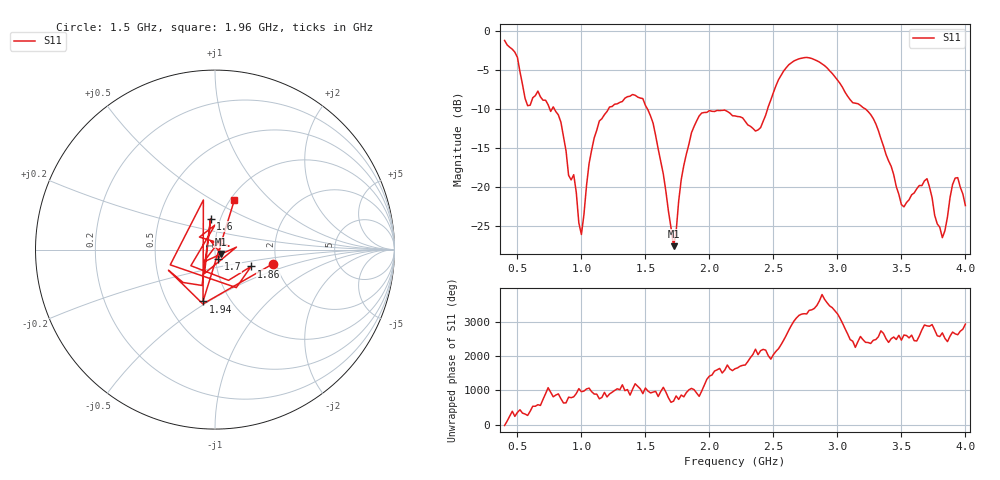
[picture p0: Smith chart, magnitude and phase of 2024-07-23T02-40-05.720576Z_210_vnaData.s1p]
!Created with skrf (http://scikit-rf.org).
# Hz S RI R 50.0
!freq ReS11 ImS11
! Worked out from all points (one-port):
!   181 points, 400 MHz to 4 GHz, reference 50 ohm
!   lowest |S11| = -27.6 dB at 1.72 GHz (marker M1), VSWR 1.09, Z = 53.4 - j2.58 ohm
!   |S11| at or under -10 dB: 787.5 MHz to 1.213 GHz (425.4 MHz wide, 42.5 % of centre); 1.514 GHz to 2.455 GHz (941.1 MHz wide, 47.4 % of centre); 3.214 GHz to end of sweep (the widest 3 of 4)
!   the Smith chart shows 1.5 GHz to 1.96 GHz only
!   S11 on the Smith chart (normalised r, x): 1.5 GHz: 1.91, -0.34; 1.6 GHz: 0.90, +0.32; 1.7 GHz: 1.03, -0.11; 1.86 GHz: 1.47, -0.29; 1.94 GHz: 0.75, -0.47; 1.96 GHz: 1.04, +0.64
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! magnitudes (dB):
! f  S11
! 400 MHz  -1.3
! 500 MHz  -3.4
! 580 MHz  -9.6
! 660 MHz  -7.8
! 860 MHz  -13.6
! 940 MHz  -18.5
! 1 GHz  -26.1
! 1.1 GHz  -13.7
! 1.3 GHz  -9.2
! 1.5 GHz  -9.6
! 1.6 GHz  -15.2
! 1.7 GHz  -25.3
! 1.72 GHz  -27.6
! 1.76 GHz  -21.9
! 1.86 GHz  -13.1
! 1.94 GHz  -10.6
! 1.96 GHz  -10.5
! 2.2 GHz  -10.9
! 2.4 GHz  -12.4
! 2.66 GHz  -3.9
! 3.1 GHz  -8.9
! 3.28 GHz  -11.3
! 3.5 GHz  -22.3
! 3.56 GHz  -21.7
! 3.7 GHz  -19.0
! 3.82 GHz  -26.5
! 3.92 GHz  -18.9
! 4 GHz  -22.4
